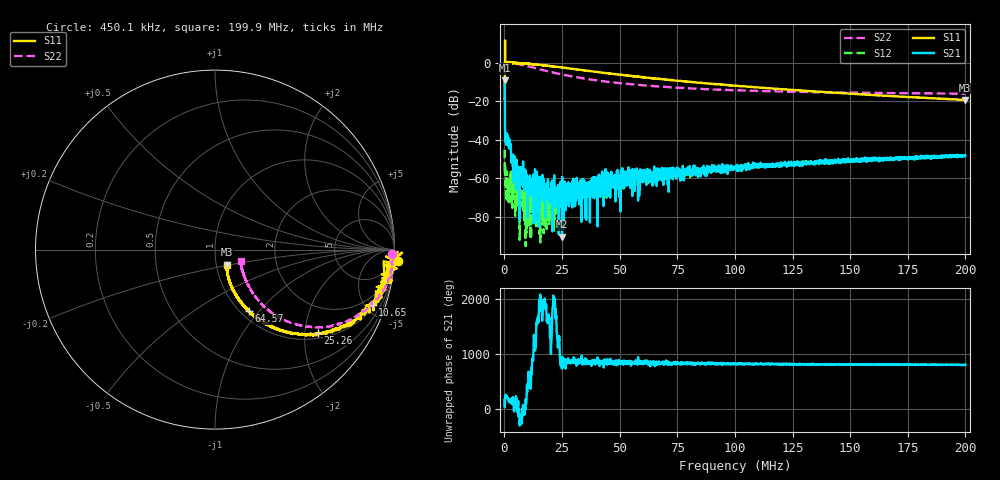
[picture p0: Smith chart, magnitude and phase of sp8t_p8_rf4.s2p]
! 26-Feb-26 1:12:12 PM
! E:\VNA_MEASUREMENTS\SP8T\SP8T_P8_RF4.S2P
! CHANNEL.1
! TR.MEASUREMENT
! CORRECTED.DATA
# GHZ S RI R 50.0
! FREQ.GHZ  S11RE  S11IM  S21RE  S21IM  S12RE  S12IM  S22RE  S22IM
!; PortSelection: Port_12
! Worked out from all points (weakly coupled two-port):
!   2000 points, 50 kHz to 200 MHz, reference 50 ohm
!   highest |S21| = -9.22 dB at 50 kHz (marker M1); lowest = -90.4 dB at 24.96 MHz (marker M2)
!   lowest |S11| = -19.4 dB at 199.9 MHz (marker M3), VSWR 1.24, Z = 56.2 - j9.6 ohm
!   |S11| at or under -10 dB: start of sweep to 172.3 kHz; 80.03 MHz to end of sweep
!   |S22| runs from -16.2 to 0.0 dB; largest |S21 - S12| = 0.35
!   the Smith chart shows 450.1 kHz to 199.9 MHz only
!   S11 on the Smith chart (normalised r, x): 450.1 kHz: -10, -27; 10.65 MHz: 1.24, -5.62; 25.26 MHz: 1.16, -2.33; 64.57 MHz: 1.09, -0.88; 199.9 MHz: 1.12, -0.19
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5e-05  0.0454 0.1052  -0.3363 0.082  0.00178 -0.00524  0.9572 -0.0189
0.0004501  1.022 -0.0661  -0.00135 -0.00866  0.000692 0.000146  0.9852 -0.0232
0.0012503  0.9525 -0.0388  -0.00933 -0.00291  0.000224 -0.00047  0.9899 -0.0808
0.001350325  1.001 -0.0588  -0.00866 -0.00364  0.000642 0.000368  0.9854 -0.0847
0.004051001  0.9585 -0.1679  0.000926 -0.000144  0.000333 -0.000257  0.9238 -0.2421
0.005151276  0.9468 -0.1519  -1.77e-05 0.00148  0.000538 -9.57e-05  0.8872 -0.2869
0.01065265  0.8777 -0.3072  -0.000735 0.000549  -7.16e-05 -3.79e-05  0.6658 -0.4249
0.01375343  0.8096 -0.3752  0.000126 -4.81e-05  -0.000237 -0.000227  0.5579 -0.4324
0.0164541  0.7589 -0.4064  -0.000783 -0.000945  -0.000165 0.000116  0.4818 -0.4249
0.01905475  0.7 -0.4284  -0.000284 -0.000141  -0.000132 4.45e-05  0.4233 -0.4083
0.02495623  0.5797 -0.4639  -1.95e-05 2.31e-05  -0.000458 0.000149  0.3312 -0.3611
0.0252563  0.5729 -0.4622  3.2e-05 0.000319  -0.000237 0.000294  0.3264 -0.3584
0.03345835  0.4365 -0.4657  -2.59e-05 -6.9e-05  -0.000404 0.00027  0.2568 -0.3004
0.036059  0.4032 -0.4588  -0.00016 0.000469  -0.000472 0.000319  0.2425 -0.2841
0.05656413  0.2215 -0.3708  -0.000638 0.00108  -0.000607 0.000551  0.1839 -0.1951
0.06456613  0.188 -0.3427  -0.000673 0.00077  -0.00046 0.00123  0.1735 -0.1732
0.06676668  0.1801 -0.3348  -0.000391 0.00119  -0.000382 0.00123  0.1714 -0.1684
0.100075  0.1029 -0.2291  -0.000529 0.00183  -0.000319 0.0018  0.1523 -0.1159
0.1333833  0.0763 -0.163  -0.000271 0.00247  -0.000313 0.00252  0.1468 -0.0894
0.1666917  0.0677 -0.1183  0.000185 0.00329  0.000195 0.00328  0.1445 -0.0738
0.1999  0.0663 -0.0844  0.000456 0.00379  0.000707 0.00376  0.1427 -0.0623
0.2  0.0665 -0.0843  0.000392 0.00388  0.000385 0.00381  0.1424 -0.0618
